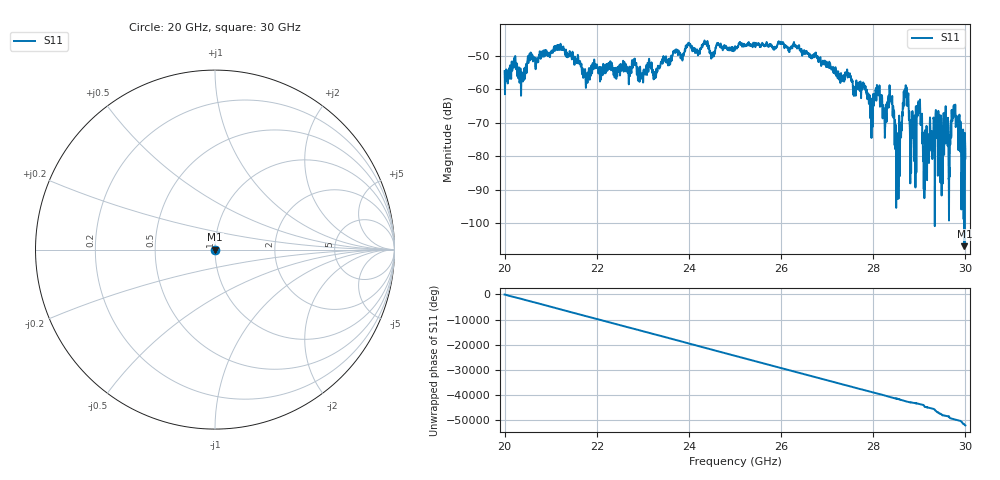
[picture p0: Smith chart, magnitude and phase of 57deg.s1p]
#  HZ  S  RI  R  50.00
! Rohde & Schwarz ZVA40 4Ports - Version 3.90 - 1145.1110k42 SN: 100403
! Date: 2023-10-03 10:50:41
! Measurement: S12
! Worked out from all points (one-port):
!   5001 points, 20 GHz to 30 GHz, reference 50 ohm
!   lowest |S11| = -106.9 dB at 29.98 GHz (marker M1), VSWR 1.00, Z = 50 + j0.000406 ohm
!   |S11| at or under -10 dB: start of sweep to end of sweep
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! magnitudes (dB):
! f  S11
! 20 GHz  -54.5
! 20.22 GHz  -52.3
! 20.37 GHz  -55.0
! 20.55 GHz  -50.4
! 21.25 GHz  -48.2
! 21.75 GHz  -55.1
! 22.5 GHz  -54.0
! 23.27 GHz  -54.7
! 23.75 GHz  -48.3
! 25 GHz  -47.2
! 26.25 GHz  -47.0
! 27.5 GHz  -56.4
! 27.81 GHz  -60.0
! 27.95 GHz  -62.9
! 28.09 GHz  -61.7
! 28.25 GHz  -69.6
! 28.37 GHz  -62.6
! 28.53 GHz  -76.8
! 28.68 GHz  -60.8
! 28.75 GHz  -62.4
! 28.84 GHz  -69.4
! 28.99 GHz  -66.1
! 29.13 GHz  -72.5
! 29.4 GHz  -73.5
! 29.64 GHz  -99.2
! 29.75 GHz  -64.8
! 29.98 GHz  -106.9
! 30 GHz  -80.6
